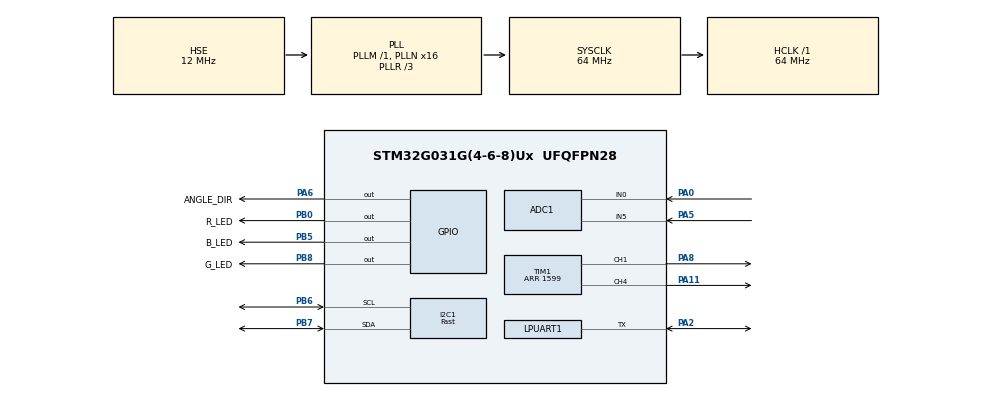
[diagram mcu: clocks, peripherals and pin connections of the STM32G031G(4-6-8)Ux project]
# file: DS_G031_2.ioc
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ADC1.Channel-0\#ChannelRegularConversion=ADC_CHANNEL_0
ADC1.Channel-1\#ChannelRegularConversion=ADC_CHANNEL_5
ADC1.ContinuousConvMode=DISABLE
ADC1.DMAContinuousRequests=ENABLE
ADC1.ExternalTrigConv=ADC_EXTERNALTRIG_T1_TRGO2
ADC1.NbrOfConversion=2
ADC1.NbrOfConversionFlag=1
ADC1.Rank-0\#ChannelRegularConversion=1
ADC1.Rank-1\#ChannelRegularConversion=2
ADC1.SamplingTime-0\#ChannelRegularConversion=ADC_SAMPLINGTIME_COMMON_1
ADC1.SamplingTime-1\#ChannelRegularConversion=ADC_SAMPLINGTIME_COMMON_1
ADC1.SamplingTimeCommon1=ADC_SAMPLETIME_19CYCLES_5
ADC1.SamplingTimeCommon2=ADC_SAMPLETIME_19CYCLES_5
ADC1.SelectedChannel=ADC_CHANNEL_0|ADC_CHANNEL_5
ADC1.master=1
Dma.ADC1.2.Direction=DMA_PERIPH_TO_MEMORY
Dma.ADC1.2.EventEnable=DISABLE
Dma.ADC1.2.Instance=DMA1_Channel4
Dma.ADC1.2.MemDataAlignment=DMA_MDATAALIGN_HALFWORD
Dma.ADC1.2.MemInc=DMA_MINC_ENABLE
Dma.ADC1.2.Mode=DMA_CIRCULAR
Dma.ADC1.2.PeriphDataAlignment=DMA_PDATAALIGN_HALFWORD
Dma.ADC1.2.PeriphInc=DMA_PINC_DISABLE
Dma.ADC1.2.Polarity=HAL_DMAMUX_REQ_GEN_RISING
Dma.ADC1.2.Priority=DMA_PRIORITY_LOW
Dma.ADC1.2.RequestNumber=1
Dma.ADC1.2.SignalID=NONE
Dma.ADC1.2.SyncEnable=DISABLE
Dma.ADC1.2.SyncPolarity=HAL_DMAMUX_SYNC_NO_EVENT
Dma.ADC1.2.SyncRequestNumber=1
Dma.ADC1.2.SyncSignalID=NONE
Dma.LPUART1_RX.0.Direction=DMA_PERIPH_TO_MEMORY
Dma.LPUART1_RX.0.EventEnable=DISABLE
Dma.LPUART1_RX.0.Instance=DMA1_Channel1
Dma.LPUART1_RX.0.MemDataAlignment=DMA_MDATAALIGN_BYTE
Dma.LPUART1_RX.0.MemInc=DMA_MINC_ENABLE
Dma.LPUART1_RX.0.Mode=DMA_NORMAL
Dma.LPUART1_RX.0.PeriphDataAlignment=DMA_PDATAALIGN_BYTE
Dma.LPUART1_RX.0.PeriphInc=DMA_PINC_DISABLE
Dma.LPUART1_RX.0.Polarity=HAL_DMAMUX_REQ_GEN_RISING
Dma.LPUART1_RX.0.Priority=DMA_PRIORITY_HIGH
Dma.LPUART1_RX.0.RequestNumber=1
Dma.LPUART1_RX.0.SignalID=NONE
Dma.LPUART1_RX.0.SyncEnable=DISABLE
Dma.LPUART1_RX.0.SyncPolarity=HAL_DMAMUX_SYNC_NO_EVENT
Dma.LPUART1_RX.0.SyncRequestNumber=1
Dma.LPUART1_RX.0.SyncSignalID=NONE
Dma.LPUART1_TX.1.Direction=DMA_MEMORY_TO_PERIPH
Dma.LPUART1_TX.1.EventEnable=DISABLE
Dma.LPUART1_TX.1.Instance=DMA1_Channel2
Dma.LPUART1_TX.1.MemDataAlignment=DMA_MDATAALIGN_BYTE
Dma.LPUART1_TX.1.MemInc=DMA_MINC_ENABLE
Dma.LPUART1_TX.1.Mode=DMA_NORMAL
Dma.LPUART1_TX.1.PeriphDataAlignment=DMA_PDATAALIGN_BYTE
Dma.LPUART1_TX.1.PeriphInc=DMA_PINC_DISABLE
Dma.LPUART1_TX.1.Polarity=HAL_DMAMUX_REQ_GEN_RISING
Dma.LPUART1_TX.1.Priority=DMA_PRIORITY_MEDIUM
Dma.LPUART1_TX.1.RequestNumber=1
Dma.LPUART1_TX.1.SignalID=NONE
Dma.LPUART1_TX.1.SyncEnable=DISABLE
Dma.LPUART1_TX.1.SyncPolarity=HAL_DMAMUX_SYNC_NO_EVENT
Dma.LPUART1_TX.1.SyncRequestNumber=1
Dma.LPUART1_TX.1.SyncSignalID=NONE
Dma.Request0=LPUART1_RX
Dma.Request1=LPUART1_TX
Dma.Request2=ADC1
I2C1.I2C_Speed_Mode=I2C_Fast
I2C1.Timing=0x00602173
LPUART1.BaudRate=1000000
LPUART1.WordLength=UART_WORDLENGTH_8B
Mcu.Family=STM32G0
Mcu.Name=STM32G031G(4-6-8)Ux
Mcu.Package=UFQFPN28
NVIC.DMA1_Ch4_5_DMAMUX1_OVR_IRQn=true\:0\:0\:false\:false\:true\:false\:true\:true
NVIC.DMA1_Channel1_IRQn=true\:0\:0\:false\:false\:true\:false\:true\:true
NVIC.DMA1_Channel2_3_IRQn=true\:0\:0\:false\:false\:true\:false\:true\:true
NVIC.LPUART1_IRQn=true\:0\:0\:false\:false\:true\:true\:true\:true
NVIC.TIM1_CC_IRQn=true\:0\:0\:false\:false\:true\:true\:true\:true
NVIC.TIM2_IRQn=true\:0\:0\:false\:false\:true\:true\:true\:true
PA0.Mode=IN0
PA0.Signal=ADC1_IN0
PA11\ [PA9].Signal=S_TIM1_CH4
PA13.Mode=Serial_Wire
PA13.Signal=SYS_SWDIO
PA14-BOOT0.Mode=Serial_Wire
PA14-BOOT0.Signal=SYS_SWCLK
PA2.Mode=Half_duplex(single_wire_mode)
PA2.Signal=LPUART1_TX
PA5.Mode=IN5
PA5.Signal=ADC1_IN5
PA6.GPIO_Label=ANGLE_DIR
PA6.PinState=GPIO_PIN_SET
PA6.Signal=GPIO_Output
PA8.Signal=S_TIM1_CH1
PB0.GPIO_Label=R_LED
PB0.Signal=GPIO_Output
PB5.GPIO_Label=B_LED
PB5.Signal=GPIO_Output
PB6.Mode=I2C
PB6.Signal=I2C1_SCL
PB7.Mode=I2C
PB7.Signal=I2C1_SDA
PB8.GPIO_Label=G_LED
PB8.Signal=GPIO_Output
PC14-OSC32_IN\ (PC14).Mode=HSE-External-Clock-Source
PC14-OSC32_IN\ (PC14).Signal=RCC_OSC_IN
PC15-OSC32_OUT\ (PC15).Mode=OSC enable
PC15-OSC32_OUT\ (PC15).Signal=RCC_OSC_EN
ProjectManager.HeapSize=0x200
ProjectManager.StackSize=0x400
ProjectManager.TargetToolchain=STM32CubeIDE
RCC.ADCFreq_Value=64000000
RCC.AHBFreq_Value=64000000
RCC.CortexFreq_Value=64000000
RCC.EXTERNAL_CLOCK_VALUE=12288000
RCC.HCLKFreq_Value=64000000
RCC.HSE_VALUE=12000000
RCC.HSI_VALUE=16000000
RCC.LPUART1CLockSelection=RCC_LPUART1CLKSOURCE_SYSCLK
RCC.LSE_VALUE=32768
RCC.PLLN=16
RCC.PLLR=RCC_PLLR_DIV3
RCC.PLLSourceVirtual=RCC_PLLSOURCE_HSE
RCC.SYSCLKFreq_VALUE=64000000
RCC.SYSCLKSource=RCC_SYSCLKSOURCE_PLLCLK
RCC.VCOOutputFreq_Value=192000000
SH.S_TIM1_CH1.0=TIM1_CH1,PWM Generation1 CH1
SH.S_TIM1_CH4.0=TIM1_CH4,PWM Generation4 CH4
TIM1.Channel-PWM\ Generation1\ CH1=TIM_CHANNEL_1
TIM1.Channel-PWM\ Generation4\ CH4=TIM_CHANNEL_4
TIM1.CounterMode=TIM_COUNTERMODE_CENTERALIGNED1
TIM1.Period=1599
TIM1.TIM_MasterOutputTrigger=TIM_TRGO_RESET
TIM1.TIM_MasterOutputTrigger2=TIM_TRGO2_UPDATE
TIM2.AutoReloadPreload=TIM_AUTORELOAD_PRELOAD_ENABLE
TIM2.Period=999
TIM2.Prescaler=63
TIM2.TIM_MasterOutputTrigger=TIM_TRGO_UPDATE
VP_TIM1_VS_ClockSourceINT.Mode=Internal
VP_TIM2_VS_ClockSourceINT.Mode=Internal
board=custom

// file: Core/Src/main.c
/* USER CODE BEGIN Header */
/**
  ******************************************************************************
  * @file           : main.c
  * @brief          : Main program body
  ******************************************************************************
  * @attention
  *
  * Copyright (c) 2026 STMicroelectronics.
  * All rights reserved.
  *
  * This software is licensed under terms that can be found in the LICENSE file
  * in the root directory of this software component.
  * If no LICENSE file comes with this software, it is provided AS-IS.
  *
  ******************************************************************************
  */
/* USER CODE END Header */
#include "main.h"
#include "adc.h"
#include "dma.h"
#include "i2c.h"
#include "usart.h"
#include "tim.h"
#include "gpio.h"

/* USER CODE BEGIN Includes */
#include "led.h"
#include "motor_control.h"
#include "servo.h"
#include "comm.h"
#include "motion.h"
#include "dynamixel.h"
#include "angle.h"
#include "config.h"
/* USER CODE END Includes */

/* USER CODE BEGIN PV */
// 基于 64MHz 主频的微秒延�??
void delay_us(uint32_t us)
{
    // 64MHz 下，1微秒大约 64 个时钟周�?
	// 考虑到循环本身的跳转和自减指令消耗，每循环一次大约消�?3~4 个周�?
    // �? us 乘以 15 �? 16 左右比较接近 1 微秒
    uint32_t count = us * 16;
    while(count--)
    {
        __NOP();
    }
}
/* USER CODE END PV */

void SystemClock_Config(void);

int main(void)
{

  /* MCU Configuration--------------------------------------------------------*/

  /* Reset of all peripherals, Initializes the Flash interface and the Systick. */
  HAL_Init();

  /* Configure the system clock */
  SystemClock_Config();

  /* USER CODE BEGIN SysInit */
  Config_Init();

  // 在lpuart初始化前，需要对关键运行时参数初始化
  // **重要运行时参数** 初始化
  Config_UpdateRuntime_Params();

  // 关闭中断
  __disable_irq();

  /* USER CODE END SysInit */

  /* Initialize all configured peripherals */
  MX_GPIO_Init();
  MX_DMA_Init();
  MX_ADC1_Init();
  MX_LPUART1_UART_Init();
  MX_TIM1_Init();
  MX_TIM2_Init();
  MX_I2C1_Init();
  /* USER CODE BEGIN 2 */
  LED_off();

  ANGLE_Init();

  COMM_Init();

#ifndef DEBUG
  Servo_Init();
#endif

  // 开启中断
  __enable_irq();

  // 开启定时器计时，开始速度环和位置环
  HAL_TIM_Base_Start_IT(&htim2);
  /* USER CODE END 2 */

  /* Infinite loop */
  /* USER CODE BEGIN WHILE */
  uint16_t status;
  while (1)
  {
    /* USER CODE END WHILE */

    /* USER CODE BEGIN 3 */
	status = COMM_Process();

	if (status == 1) LED_process(1);
	else             LED_process(0);

	ANGLE_Process();

	Servo_MainLoopSync();
  }
  /* USER CODE END 3 */
}

void SystemClock_Config(void)
{
  RCC_OscInitTypeDef RCC_OscInitStruct = {0};
  RCC_ClkInitTypeDef RCC_ClkInitStruct = {0};

  /** Configure the main internal regulator output voltage
  */
  HAL_PWREx_ControlVoltageScaling(PWR_REGULATOR_VOLTAGE_SCALE1);

  /** Initializes the RCC Oscillators according to the specified parameters
  * in the RCC_OscInitTypeDef structure.
  */
  RCC_OscInitStruct.OscillatorType = RCC_OSCILLATORTYPE_HSE;
  RCC_OscInitStruct.HSEState = RCC_HSE_BYPASS;
  RCC_OscInitStruct.PLL.PLLState = RCC_PLL_ON;
  RCC_OscInitStruct.PLL.PLLSource = RCC_PLLSOURCE_HSE;
  RCC_OscInitStruct.PLL.PLLM = RCC_PLLM_DIV1;
  RCC_OscInitStruct.PLL.PLLN = 16;
  RCC_OscInitStruct.PLL.PLLP = RCC_PLLP_DIV2;
  RCC_OscInitStruct.PLL.PLLQ = RCC_PLLQ_DIV2;
  RCC_OscInitStruct.PLL.PLLR = RCC_PLLR_DIV3;
  if (HAL_RCC_OscConfig(&RCC_OscInitStruct) != HAL_OK)
  {
    Error_Handler();
  }

  /** Initializes the CPU, AHB and APB buses clocks
  */
  RCC_ClkInitStruct.ClockType = RCC_CLOCKTYPE_HCLK|RCC_CLOCKTYPE_SYSCLK
                              |RCC_CLOCKTYPE_PCLK1;
  RCC_ClkInitStruct.SYSCLKSource = RCC_SYSCLKSOURCE_PLLCLK;
  RCC_ClkInitStruct.AHBCLKDivider = RCC_SYSCLK_DIV1;
  RCC_ClkInitStruct.APB1CLKDivider = RCC_HCLK_DIV1;

  if (HAL_RCC_ClockConfig(&RCC_ClkInitStruct, FLASH_LATENCY_2) != HAL_OK)
  {
    Error_Handler();
  }
}

void Error_Handler(void)
{
  __disable_irq();
  while (1)
  {
  }
}
